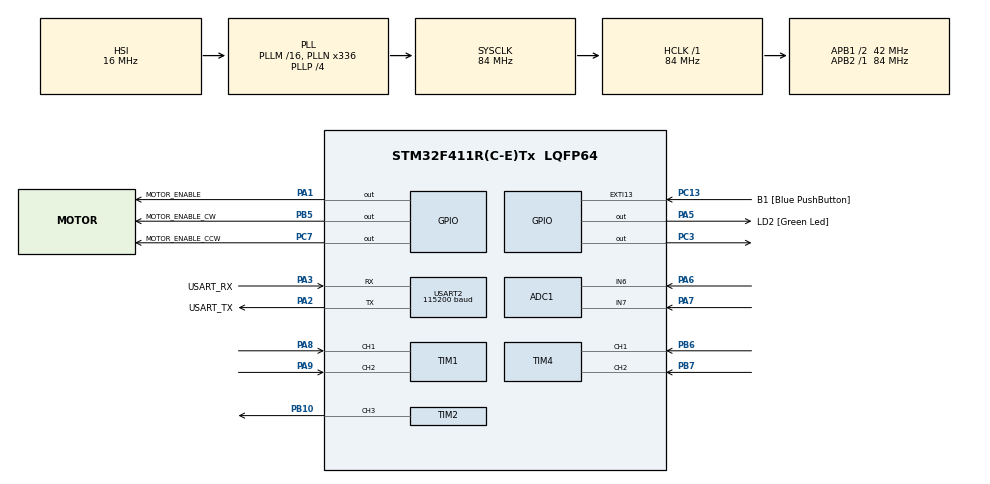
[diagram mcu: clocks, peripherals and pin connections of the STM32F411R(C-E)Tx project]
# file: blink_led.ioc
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ADC1.Channel-2\#ChannelRegularConversion=ADC_CHANNEL_6
ADC1.ContinuousConvMode=DISABLE
ADC1.NbrOfConversionFlag=1
ADC1.Rank-2\#ChannelRegularConversion=1
ADC1.SamplingTime-2\#ChannelRegularConversion=ADC_SAMPLETIME_3CYCLES
ADC1.master=1
Mcu.Family=STM32F4
Mcu.Name=STM32F411R(C-E)Tx
Mcu.Package=LQFP64
NVIC.PriorityGroup=NVIC_PRIORITYGROUP_0
PA1.GPIO_Label=MOTOR_ENABLE
PA1.Signal=GPIO_Output
PA13.GPIO_Label=TMS
PA13.Mode=Serial_Wire
PA13.Signal=SYS_JTMS-SWDIO
PA14.GPIO_Label=TCK
PA14.Mode=Serial_Wire
PA14.Signal=SYS_JTCK-SWCLK
PA2.GPIO_Label=USART_TX
PA2.Mode=Asynchronous
PA2.Signal=USART2_TX
PA3.GPIO_Label=USART_RX
PA3.Mode=Asynchronous
PA3.Signal=USART2_RX
PA5.GPIO_Label=LD2 [Green Led]
PA5.Signal=GPIO_Output
PA6.Signal=ADCx_IN6
PA7.Signal=ADCx_IN7
PA8.GPIO_PuPd=GPIO_NOPULL
PA8.Signal=S_TIM1_CH1
PA9.GPIO_PuPd=GPIO_NOPULL
PA9.Signal=S_TIM1_CH2
PB10.Signal=S_TIM2_CH3
PB3.GPIO_Label=SWO
PB3.Signal=SYS_JTDO-SWO
PB5.GPIO_Label=MOTOR_ENABLE_CW
PB5.Signal=GPIO_Output
PB6.Signal=S_TIM4_CH1
PB7.Signal=S_TIM4_CH2
PC13-ANTI_TAMP.GPIO_Label=B1 [Blue PushButton]
PC13-ANTI_TAMP.GPIO_ModeDefaultEXTI=GPIO_MODE_IT_FALLING
PC13-ANTI_TAMP.Signal=GPXTI13
PC14-OSC32_IN.Mode=LSE-External-Oscillator
PC14-OSC32_IN.Signal=RCC_OSC32_IN
PC15-OSC32_OUT.Mode=LSE-External-Oscillator
PC15-OSC32_OUT.Signal=RCC_OSC32_OUT
PC3.Signal=GPIO_Output
PC7.GPIO_Label=MOTOR_ENABLE_CCW
PC7.Signal=GPIO_Output
PH0\ -\ OSC_IN.Mode=HSE-External-Oscillator
PH0\ -\ OSC_IN.Signal=RCC_OSC_IN
PH1\ -\ OSC_OUT.Mode=HSE-External-Oscillator
PH1\ -\ OSC_OUT.Signal=RCC_OSC_OUT
ProjectManager.HeapSize=0x200
ProjectManager.StackSize=0x400
ProjectManager.TargetToolchain=STM32CubeIDE
RCC.48MHZClocksFreq_Value=84000000
RCC.AHBFreq_Value=84000000
RCC.APB1CLKDivider=RCC_HCLK_DIV2
RCC.APB1Freq_Value=42000000
RCC.APB1TimFreq_Value=84000000
RCC.APB2Freq_Value=84000000
RCC.APB2TimFreq_Value=84000000
RCC.CortexFreq_Value=84000000
RCC.FLatency-AdvancedSettings=FLASH_LATENCY_2
RCC.HCLKFreq_Value=84000000
RCC.HSE_VALUE=8000000
RCC.HSI_VALUE=16000000
RCC.PLLN=336
RCC.PLLP=RCC_PLLP_DIV4
RCC.SYSCLKFreq_VALUE=84000000
RCC.SYSCLKSource=RCC_SYSCLKSOURCE_PLLCLK
RCC.VCOOutputFreq_Value=336000000
SH.ADCx_IN6.0=ADC1_IN6,IN6
SH.ADCx_IN7.0=ADC1_IN7,IN7
SH.S_TIM1_CH1.0=TIM1_CH1,Encoder_Interface
SH.S_TIM1_CH2.0=TIM1_CH2,Encoder_Interface
SH.S_TIM2_CH3.0=TIM2_CH3,PWM Generation3 CH3
SH.S_TIM4_CH1.0=TIM4_CH1,Encoder_Interface
SH.S_TIM4_CH2.0=TIM4_CH2,Encoder_Interface
TIM1.IC1Polarity=TIM_ICPOLARITY_FALLING
TIM1.IC2Polarity=TIM_ICPOLARITY_FALLING
TIM2.Channel-PWM\ Generation3\ CH3=TIM_CHANNEL_3
TIM2.Period=100-1
TIM2.Prescaler=84-1
TIM4.IC1Polarity=TIM_ICPOLARITY_FALLING
TIM4.IC2Polarity=TIM_ICPOLARITY_FALLING
USART2.BaudRate=115200
USART2.VirtualMode=VM_ASYNC
VP_TIM2_VS_ClockSourceINT.Mode=Internal
board=NUCLEO-F411RE

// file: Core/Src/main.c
/* USER CODE BEGIN Header */
/**
  ******************************************************************************
  * @file           : main.c
  * @brief          : Main program body
  ******************************************************************************
  * @attention
  *
  * Copyright (c) 2023 STMicroelectronics.
  * All rights reserved.
  *
  * This software is licensed under terms that can be found in the LICENSE file
  * in the root directory of this software component.
  * If no LICENSE file comes with this software, it is provided AS-IS.
  *
  ******************************************************************************
  */
/* USER CODE END Header */
#include "main.h"

ADC_HandleTypeDef hadc1;

TIM_HandleTypeDef htim1;
TIM_HandleTypeDef htim2;
TIM_HandleTypeDef htim4;

UART_HandleTypeDef huart2;

void SystemClock_Config(void);
static void MX_GPIO_Init(void);
static void MX_USART2_UART_Init(void);
static void MX_TIM2_Init(void);
static void MX_ADC1_Init(void);
static void MX_TIM1_Init(void);
static void MX_TIM4_Init(void);

/* USER CODE BEGIN 0 */

// CONSTANTS
#define ENCODER_TICKS_PER_REVOLUTION 2000
#define PI 3.14159265358979323846

uint8_t uart_message[100] = {'\0'};

typedef struct {
	uint32_t previous_count;

	int32_t velocity_in_ticks_per_iteration;
	int64_t angle_in_ticks;

	double velocity_in_radian_per_second;
	double angle_in_radian;

	uint32_t previous_time;
} rotary_encoder;

void update_rotary_encoder(rotary_encoder* encoder, TIM_HandleTypeDef *htim) {
	uint32_t current_count = __HAL_TIM_GET_COUNTER(htim);
	uint32_t current_time = HAL_GetTick();

	encoder->angle_in_ticks = current_count + __HAL_TIM_GET_AUTORELOAD(htim) / 2.0f;
	//encoder->angle_in_ticks = current_count - 65535 / 2;
	encoder->velocity_in_ticks_per_iteration = current_count - encoder->previous_count;

	float elapsed_time_seconds;

	if (current_time >= encoder->previous_time) {
		// overflow happened
		elapsed_time_seconds = (current_time - encoder->previous_time) / 1000.0f;
	} else {
		elapsed_time_seconds = (UINT32_MAX - current_time + encoder->previous_time) / 1000.0f;
	}

	encoder->velocity_in_radian_per_second =  (double) encoder->velocity_in_ticks_per_iteration / ENCODER_TICKS_PER_REVOLUTION * 2 * PI / elapsed_time_seconds;

	encoder->angle_in_radian = ((double) encoder->angle_in_ticks / ENCODER_TICKS_PER_REVOLUTION * 2 * PI) - 205.884275f;

	encoder->previous_count = current_count;
	encoder->previous_time = current_time;
}

void set_motor_duty_cycle(uint8_t percentage, uint8_t direction) {
	TIM2->CCR3 = percentage;

	if(direction == 1) {
		HAL_GPIO_WritePin(MOTOR_ENABLE_CCW_GPIO_Port, MOTOR_ENABLE_CCW_Pin, 1);
		HAL_GPIO_WritePin(MOTOR_ENABLE_CW_GPIO_Port, MOTOR_ENABLE_CW_Pin, 0);
	} else {
		HAL_GPIO_WritePin(MOTOR_ENABLE_CCW_GPIO_Port, MOTOR_ENABLE_CCW_Pin, 0);
		HAL_GPIO_WritePin(MOTOR_ENABLE_CW_GPIO_Port, MOTOR_ENABLE_CW_Pin, 1);
	}

	set_motor_enabled(1);
}

void set_motor_enabled(uint8_t enabled) {
	HAL_GPIO_WritePin(MOTOR_ENABLE_GPIO_Port, MOTOR_ENABLE_Pin, enabled);
}

/* USER CODE END 0 */

int main(void)
{

  /* MCU Configuration--------------------------------------------------------*/

  /* Reset of all peripherals, Initializes the Flash interface and the Systick. */
  HAL_Init();

  /* Configure the system clock */
  SystemClock_Config();

  /* Initialize all configured peripherals */
  MX_GPIO_Init();
  MX_USART2_UART_Init();
  MX_TIM2_Init();
  MX_ADC1_Init();
  MX_TIM1_Init();
  MX_TIM4_Init();
  /* USER CODE BEGIN 2 */

  HAL_TIM_Encoder_Start_IT(&htim1, TIM_CHANNEL_ALL);
  HAL_TIM_Encoder_Start_IT(&htim4, TIM_CHANNEL_ALL);

  TIM1->CNT = __HAL_TIM_GET_AUTORELOAD(&htim1) / 2;
  TIM4->CNT = __HAL_TIM_GET_AUTORELOAD(&htim4) / 2;

  rotary_encoder pendulum_encoder;
  pendulum_encoder.angle_in_ticks = 0;
  pendulum_encoder.previous_count = __HAL_TIM_GET_AUTORELOAD(&htim4) / 2;
  pendulum_encoder.velocity_in_ticks_per_iteration = 0;
  pendulum_encoder.velocity_in_radian_per_second = 0;
  pendulum_encoder.angle_in_radian = 0;
  pendulum_encoder.previous_time = HAL_GetTick();

  rotary_encoder motor_encoder;
  motor_encoder.angle_in_ticks = 0;
  motor_encoder.previous_count = __HAL_TIM_GET_AUTORELOAD(&htim1) / 2;
  motor_encoder.velocity_in_ticks_per_iteration = 0;
  motor_encoder.velocity_in_radian_per_second = 0;
  motor_encoder.angle_in_radian = 0;
  motor_encoder.previous_time = HAL_GetTick();

  // setup motor

  TIM2->CCR3 = 0;
  HAL_TIM_PWM_Start(&htim2, TIM_CHANNEL_3);

  set_motor_enabled(0);

  float K[4] = {-1.4116f, -1.7972f, -53.2448f, -5.8043f};
  float uRef = 0;
  int8_t duty_cycle = 0;

//  HAL_GPIO_WritePin(MOTOR_ENABLE_CCW_GPIO_Port, MOTOR_ENABLE_CCW_Pin, 0);
//  HAL_GPIO_WritePin(MOTOR_ENABLE_CW_GPIO_Port, MOTOR_ENABLE_CW_Pin, 1);
//
//  HAL_GPIO_WritePin(MOTOR_ENABLE_GPIO_Port, MOTOR_ENABLE_Pin, 1);

  /* USER CODE END 2 */

  /* Infinite loop */
  /* USER CODE BEGIN WHILE */

  uint32_t flip = 0;

  while (1)
  {
	// Encoder loop
	update_rotary_encoder(&pendulum_encoder, &htim4);
	update_rotary_encoder(&motor_encoder, &htim1);

//	// UART communication
	sprintf(uart_message, "motor angle: %f njihalo angle: %f \n\r", motor_encoder.velocity_in_radian_per_second, pendulum_encoder.velocity_in_radian_per_second);
	HAL_UART_Transmit(&huart2, uart_message, sizeof(uart_message), HAL_MAX_DELAY);

	if (motor_encoder.angle_in_radian > PI || motor_encoder.angle_in_radian < - PI) {
		set_motor_enabled(0);
//		sprintf(uart_message, "Uhvatio motor limit\n\r");
//		HAL_UART_Transmit(&huart2, uart_message, sizeof(uart_message), HAL_MAX_DELAY);
		continue;
	}

	if (fabs(pendulum_encoder.angle_in_radian) > (PI + PI / 6) || fabs(pendulum_encoder.angle_in_radian) < (PI - PI / 6) ) {
		set_motor_enabled(0);
//		sprintf(uart_message, "Uhvatio pendulum limit\n\r");
//		HAL_UART_Transmit(&huart2, uart_message, sizeof(uart_message), HAL_MAX_DELAY);
		continue;
	}

	uRef = K[0] * motor_encoder.angle_in_radian + K[1] * motor_encoder.velocity_in_radian_per_second + K[2] * (pendulum_encoder.angle_in_radian - PI) + K[3] * pendulum_encoder.velocity_in_radian_per_second;

	duty_cycle = uRef / 12 * 100;

	if (duty_cycle > 100) {
		duty_cycle = 100;
	} else if (duty_cycle < -100) {
		duty_cycle = -100;
	}

	if (duty_cycle > 0) {
		set_motor_duty_cycle(duty_cycle, 1);
	} else {
		set_motor_duty_cycle(-duty_cycle, 0);
	}

//	  TIM2->CCR3 = 20;
//	  HAL_Delay(1);
//	  TIM2->CCR3 = 40;
//	  HAL_Delay(1000);
//	  TIM2->CCR3 = 60;
//	  HAL_Delay(1000);
//	  TIM2->CCR3 = 80;
//	  HAL_Delay(1000);
	// Flash led
//	if (flip) {
//		HAL_GPIO_WritePin(GPIOC, GPIO_PIN_3, 1);
//		flip = 0;
//	} else {
//		HAL_GPIO_WritePin(GPIOC, GPIO_PIN_3, 0);
//		flip = 1;
//	}
//	HAL_Delay(20);
//	HAL_GPIO_WritePin(GPIOA, GPIO_PIN_5, GPIO_PIN_RESET);
//	HAL_Delay(40);
    /* USER CODE END WHILE */

  }
}

void SystemClock_Config(void)
{
  RCC_OscInitTypeDef RCC_OscInitStruct = {0};
  RCC_ClkInitTypeDef RCC_ClkInitStruct = {0};

  /** Configure the main internal regulator output voltage
  */
  __HAL_RCC_PWR_CLK_ENABLE();
  __HAL_PWR_VOLTAGESCALING_CONFIG(PWR_REGULATOR_VOLTAGE_SCALE1);

  /** Initializes the RCC Oscillators according to the specified parameters
  * in the RCC_OscInitTypeDef structure.
  */
  RCC_OscInitStruct.OscillatorType = RCC_OSCILLATORTYPE_HSI;
  RCC_OscInitStruct.HSIState = RCC_HSI_ON;
  RCC_OscInitStruct.HSICalibrationValue = RCC_HSICALIBRATION_DEFAULT;
  RCC_OscInitStruct.PLL.PLLState = RCC_PLL_ON;
  RCC_OscInitStruct.PLL.PLLSource = RCC_PLLSOURCE_HSI;
  RCC_OscInitStruct.PLL.PLLM = 16;
  RCC_OscInitStruct.PLL.PLLN = 336;
  RCC_OscInitStruct.PLL.PLLP = RCC_PLLP_DIV4;
  RCC_OscInitStruct.PLL.PLLQ = 4;
  if (HAL_RCC_OscConfig(&RCC_OscInitStruct) != HAL_OK)
  {
    Error_Handler();
  }

  /** Initializes the CPU, AHB and APB buses clocks
  */
  RCC_ClkInitStruct.ClockType = RCC_CLOCKTYPE_HCLK|RCC_CLOCKTYPE_SYSCLK
                              |RCC_CLOCKTYPE_PCLK1|RCC_CLOCKTYPE_PCLK2;
  RCC_ClkInitStruct.SYSCLKSource = RCC_SYSCLKSOURCE_PLLCLK;
  RCC_ClkInitStruct.AHBCLKDivider = RCC_SYSCLK_DIV1;
  RCC_ClkInitStruct.APB1CLKDivider = RCC_HCLK_DIV2;
  RCC_ClkInitStruct.APB2CLKDivider = RCC_HCLK_DIV1;

  if (HAL_RCC_ClockConfig(&RCC_ClkInitStruct, FLASH_LATENCY_2) != HAL_OK)
  {
    Error_Handler();
  }
}

static void MX_ADC1_Init(void)
{

  ADC_ChannelConfTypeDef sConfig = {0};

  /** Configure the global features of the ADC (Clock, Resolution, Data Alignment and number of conversion)
  */
  hadc1.Instance = ADC1;
  hadc1.Init.ClockPrescaler = ADC_CLOCK_SYNC_PCLK_DIV4;
  hadc1.Init.Resolution = ADC_RESOLUTION_12B;
  hadc1.Init.ScanConvMode = DISABLE;
  hadc1.Init.ContinuousConvMode = DISABLE;
  hadc1.Init.DiscontinuousConvMode = DISABLE;
  hadc1.Init.ExternalTrigConvEdge = ADC_EXTERNALTRIGCONVEDGE_NONE;
  hadc1.Init.ExternalTrigConv = ADC_SOFTWARE_START;
  hadc1.Init.DataAlign = ADC_DATAALIGN_RIGHT;
  hadc1.Init.NbrOfConversion = 1;
  hadc1.Init.DMAContinuousRequests = DISABLE;
  hadc1.Init.EOCSelection = ADC_EOC_SINGLE_CONV;
  if (HAL_ADC_Init(&hadc1) != HAL_OK)
  {
    Error_Handler();
  }

  /** Configure for the selected ADC regular channel its corresponding rank in the sequencer and its sample time.
  */
  sConfig.Channel = ADC_CHANNEL_6;
  sConfig.Rank = 1;
  sConfig.SamplingTime = ADC_SAMPLETIME_3CYCLES;
  if (HAL_ADC_ConfigChannel(&hadc1, &sConfig) != HAL_OK)
  {
    Error_Handler();
  }

}

static void MX_TIM1_Init(void)
{

  TIM_Encoder_InitTypeDef sConfig = {0};
  TIM_MasterConfigTypeDef sMasterConfig = {0};

  htim1.Instance = TIM1;
  htim1.Init.Prescaler = 0;
  htim1.Init.CounterMode = TIM_COUNTERMODE_UP;
  htim1.Init.Period = 65535;
  htim1.Init.ClockDivision = TIM_CLOCKDIVISION_DIV1;
  htim1.Init.RepetitionCounter = 0;
  htim1.Init.AutoReloadPreload = TIM_AUTORELOAD_PRELOAD_DISABLE;
  sConfig.EncoderMode = TIM_ENCODERMODE_TI1;
  sConfig.IC1Polarity = TIM_ICPOLARITY_FALLING;
  sConfig.IC1Selection = TIM_ICSELECTION_DIRECTTI;
  sConfig.IC1Prescaler = TIM_ICPSC_DIV1;
  sConfig.IC1Filter = 0;
  sConfig.IC2Polarity = TIM_ICPOLARITY_FALLING;
  sConfig.IC2Selection = TIM_ICSELECTION_DIRECTTI;
  sConfig.IC2Prescaler = TIM_ICPSC_DIV1;
  sConfig.IC2Filter = 0;
  if (HAL_TIM_Encoder_Init(&htim1, &sConfig) != HAL_OK)
  {
    Error_Handler();
  }
  sMasterConfig.MasterOutputTrigger = TIM_TRGO_RESET;
  sMasterConfig.MasterSlaveMode = TIM_MASTERSLAVEMODE_DISABLE;
  if (HAL_TIMEx_MasterConfigSynchronization(&htim1, &sMasterConfig) != HAL_OK)
  {
    Error_Handler();
  }

}

static void MX_TIM2_Init(void)
{

  TIM_ClockConfigTypeDef sClockSourceConfig = {0};
  TIM_MasterConfigTypeDef sMasterConfig = {0};
  TIM_OC_InitTypeDef sConfigOC = {0};

  htim2.Instance = TIM2;
  htim2.Init.Prescaler = 84-1;
  htim2.Init.CounterMode = TIM_COUNTERMODE_UP;
  htim2.Init.Period = 100-1;
  htim2.Init.ClockDivision = TIM_CLOCKDIVISION_DIV1;
  htim2.Init.AutoReloadPreload = TIM_AUTORELOAD_PRELOAD_DISABLE;
  if (HAL_TIM_Base_Init(&htim2) != HAL_OK)
  {
    Error_Handler();
  }
  sClockSourceConfig.ClockSource = TIM_CLOCKSOURCE_INTERNAL;
  if (HAL_TIM_ConfigClockSource(&htim2, &sClockSourceConfig) != HAL_OK)
  {
    Error_Handler();
  }
  if (HAL_TIM_PWM_Init(&htim2) != HAL_OK)
  {
    Error_Handler();
  }
  sMasterConfig.MasterOutputTrigger = TIM_TRGO_RESET;
  sMasterConfig.MasterSlaveMode = TIM_MASTERSLAVEMODE_DISABLE;
  if (HAL_TIMEx_MasterConfigSynchronization(&htim2, &sMasterConfig) != HAL_OK)
  {
    Error_Handler();
  }
  sConfigOC.OCMode = TIM_OCMODE_PWM1;
  sConfigOC.Pulse = 0;
  sConfigOC.OCPolarity = TIM_OCPOLARITY_HIGH;
  sConfigOC.OCFastMode = TIM_OCFAST_DISABLE;
  if (HAL_TIM_PWM_ConfigChannel(&htim2, &sConfigOC, TIM_CHANNEL_3) != HAL_OK)
  {
    Error_Handler();
  }
  HAL_TIM_MspPostInit(&htim2);

}

static void MX_TIM4_Init(void)
{

  TIM_Encoder_InitTypeDef sConfig = {0};
  TIM_MasterConfigTypeDef sMasterConfig = {0};

  htim4.Instance = TIM4;
  htim4.Init.Prescaler = 0;
  htim4.Init.CounterMode = TIM_COUNTERMODE_UP;
  htim4.Init.Period = 65535;
  htim4.Init.ClockDivision = TIM_CLOCKDIVISION_DIV1;
  htim4.Init.AutoReloadPreload = TIM_AUTORELOAD_PRELOAD_DISABLE;
  sConfig.EncoderMode = TIM_ENCODERMODE_TI1;
  sConfig.IC1Polarity = TIM_ICPOLARITY_FALLING;
  sConfig.IC1Selection = TIM_ICSELECTION_DIRECTTI;
  sConfig.IC1Prescaler = TIM_ICPSC_DIV1;
  sConfig.IC1Filter = 0;
  sConfig.IC2Polarity = TIM_ICPOLARITY_FALLING;
  sConfig.IC2Selection = TIM_ICSELECTION_DIRECTTI;
  sConfig.IC2Prescaler = TIM_ICPSC_DIV1;
  sConfig.IC2Filter = 0;
  if (HAL_TIM_Encoder_Init(&htim4, &sConfig) != HAL_OK)
  {
    Error_Handler();
  }
  sMasterConfig.MasterOutputTrigger = TIM_TRGO_RESET;
  sMasterConfig.MasterSlaveMode = TIM_MASTERSLAVEMODE_DISABLE;
  if (HAL_TIMEx_MasterConfigSynchronization(&htim4, &sMasterConfig) != HAL_OK)
  {
    Error_Handler();
  }

}

static void MX_USART2_UART_Init(void)
{

  huart2.Instance = USART2;
  huart2.Init.BaudRate = 115200;
  huart2.Init.WordLength = UART_WORDLENGTH_8B;
  huart2.Init.StopBits = UART_STOPBITS_1;
  huart2.Init.Parity = UART_PARITY_NONE;
  huart2.Init.Mode = UART_MODE_TX_RX;
  huart2.Init.HwFlowCtl = UART_HWCONTROL_NONE;
  huart2.Init.OverSampling = UART_OVERSAMPLING_16;
  if (HAL_UART_Init(&huart2) != HAL_OK)
  {
    Error_Handler();
  }

}

static void MX_GPIO_Init(void)
{
  GPIO_InitTypeDef GPIO_InitStruct = {0};

  /* GPIO Ports Clock Enable */
  __HAL_RCC_GPIOC_CLK_ENABLE();
  __HAL_RCC_GPIOH_CLK_ENABLE();
  __HAL_RCC_GPIOA_CLK_ENABLE();
  __HAL_RCC_GPIOB_CLK_ENABLE();

  /*Configure GPIO pin Output Level */
  HAL_GPIO_WritePin(GPIOC, GPIO_PIN_3|MOTOR_ENABLE_CCW_Pin, GPIO_PIN_RESET);

  /*Configure GPIO pin Output Level */
  HAL_GPIO_WritePin(GPIOA, MOTOR_ENABLE_Pin|LD2_Pin, GPIO_PIN_RESET);

  /*Configure GPIO pin Output Level */
  HAL_GPIO_WritePin(MOTOR_ENABLE_CW_GPIO_Port, MOTOR_ENABLE_CW_Pin, GPIO_PIN_RESET);

  /*Configure GPIO pin : B1_Pin */
  GPIO_InitStruct.Pin = B1_Pin;
  GPIO_InitStruct.Mode = GPIO_MODE_IT_FALLING;
  GPIO_InitStruct.Pull = GPIO_NOPULL;
  HAL_GPIO_Init(B1_GPIO_Port, &GPIO_InitStruct);

  /*Configure GPIO pins : PC3 MOTOR_ENABLE_CCW_Pin */
  GPIO_InitStruct.Pin = GPIO_PIN_3|MOTOR_ENABLE_CCW_Pin;
  GPIO_InitStruct.Mode = GPIO_MODE_OUTPUT_PP;
  GPIO_InitStruct.Pull = GPIO_NOPULL;
  GPIO_InitStruct.Speed = GPIO_SPEED_FREQ_LOW;
  HAL_GPIO_Init(GPIOC, &GPIO_InitStruct);

  /*Configure GPIO pins : MOTOR_ENABLE_Pin LD2_Pin */
  GPIO_InitStruct.Pin = MOTOR_ENABLE_Pin|LD2_Pin;
  GPIO_InitStruct.Mode = GPIO_MODE_OUTPUT_PP;
  GPIO_InitStruct.Pull = GPIO_NOPULL;
  GPIO_InitStruct.Speed = GPIO_SPEED_FREQ_LOW;
  HAL_GPIO_Init(GPIOA, &GPIO_InitStruct);

  /*Configure GPIO pin : MOTOR_ENABLE_CW_Pin */
  GPIO_InitStruct.Pin = MOTOR_ENABLE_CW_Pin;
  GPIO_InitStruct.Mode = GPIO_MODE_OUTPUT_PP;
  GPIO_InitStruct.Pull = GPIO_NOPULL;
  GPIO_InitStruct.Speed = GPIO_SPEED_FREQ_LOW;
  HAL_GPIO_Init(MOTOR_ENABLE_CW_GPIO_Port, &GPIO_InitStruct);

}

void Error_Handler(void)
{
  __disable_irq();
  while (1)
  {
  }
}
